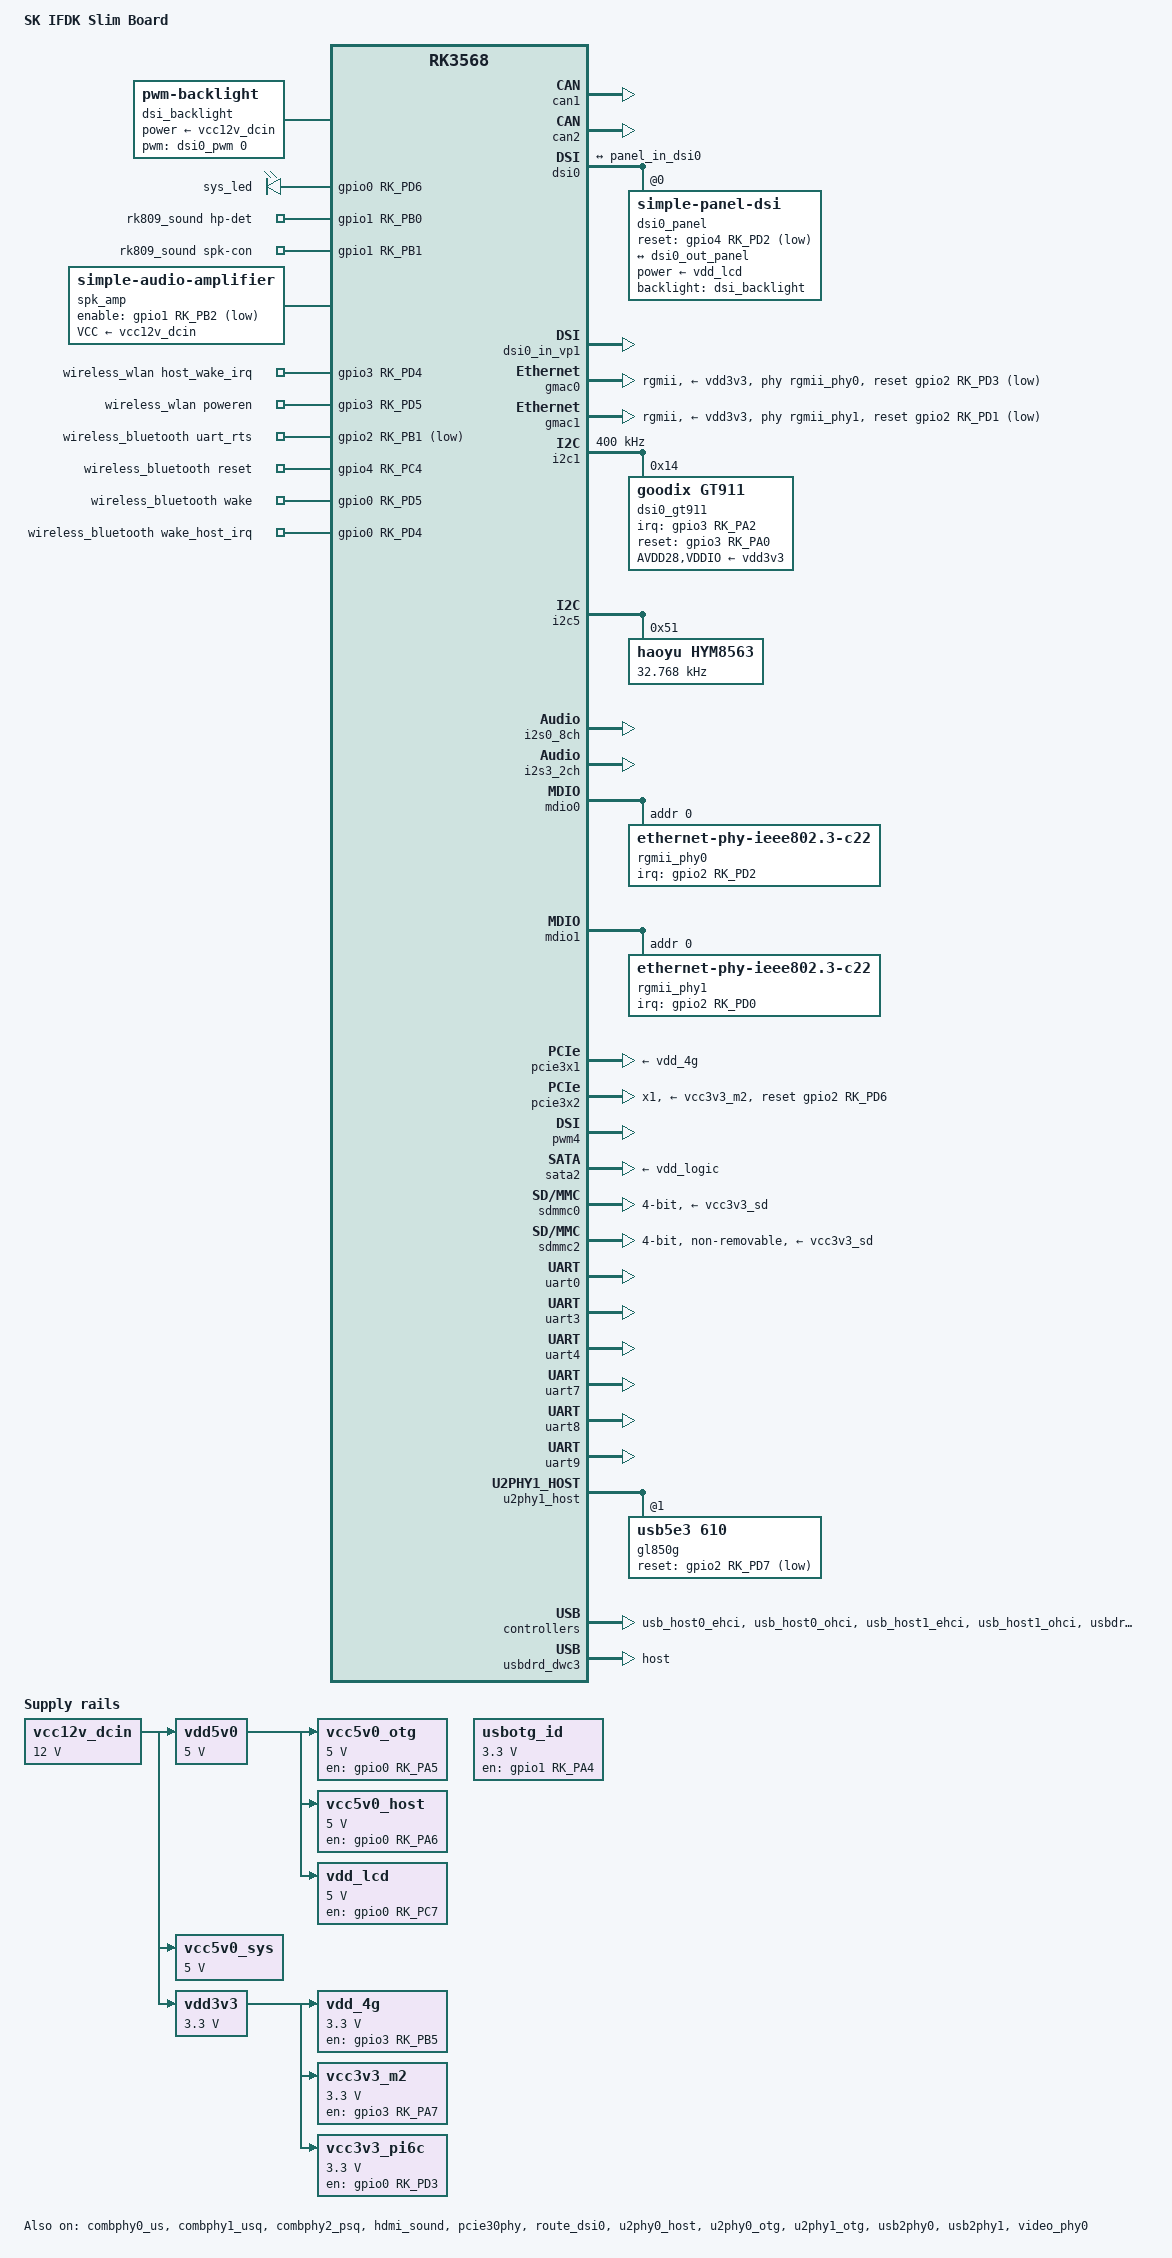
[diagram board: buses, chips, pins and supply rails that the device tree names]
// SPDX-License-Identifier: (GPL-2.0+ OR MIT)
/*
* Copyright (c) 2025 Sergey Kharenko
* Copyright (c) 2021 Rockchip Electronics Co., Ltd.
*/

/dts-v1/;

#include <dt-bindings/gpio/gpio.h>
#include <dt-bindings/pwm/pwm.h>
#include <dt-bindings/leds/common.h>
#include <dt-bindings/display/drm_mipi_dsi.h>
#include <dt-bindings/sensor-dev.h>

#include "rk3568-sk-ifdk-slim-core.dtsi"

/ {
	model = "SK IFDK Slim Board";
	compatible = "sk,ifdk-slim", "rockchip,rk3568";

	aliases {
		ethernet0 = &gmac0;
		ethernet1 = &gmac1;
		mmc0 = &sdhci;
		mmc1 = &sdmmc0;
		sata = &sata2;
		dsi = &dsi0;
		hdmi = &hdmi;
	};

    bt_sco: bt-sco {
        compatible = "linux,bt-sco";
        #sound-dai-cells = <1>;
    };

	bt_sound: bt-sound {
		status = "okay";
        compatible = "simple-audio-card";
        simple-audio-card,format = "dsp_a";
        simple-audio-card,bitclock-inversion = <1>;
        simple-audio-card,mclk-fs = <256>;
        simple-audio-card,name = "rockchip,bt";
        simple-audio-card,cpu {
            sound-dai = <&i2s3_2ch>;
        };

        simple-audio-card,codec {
            sound-dai = <&bt_sco 1>;
        };
    };

	dsi_backlight: dsi-backlight {
		compatible = "pwm-backlight";
		brightness-levels = <
			0  20  20  21  21  22  22  23
			23  24  24  25  25  26  26  27
			27  28  28  29  29  30  30  31
			31  32  32  33  33  34  34  35
			35  36  36  37  37  38  38  39
			40  41  42  43  44  45  46  47
			48  49  50  51  52  53  54  55
			56  57  58  59  60  61  62  63
			64  65  66  67  68  69  70  71
			72  73  74  75  76  77  78  79
			80  81  82  83  84  85  86  87
			88  89  90  91  92  93  94  95
			96  97  98  99 100 101 102 103
			104 105 106 107 108 109 110 111
			112 113 114 115 116 117 118 119
			120 121 122 123 124 125 126 127
			128 129 130 131 132 133 134 135
			136 137 138 139 140 141 142 143
			144 145 146 147 148 149 150 151
			152 153 154 155 156 157 158 159
			160 161 162 163 164 165 166 167
			168 169 170 171 172 173 174 175
			176 177 178 179 180 181 182 183
			184 185 186 187 188 189 190 191
			192 193 194 195 196 197 198 199
			200 201 202 203 204 205 206 207
			208 209 210 211 212 213 214 215
			216 217 218 219 220 221 222 223
			224 225 226 227 228 229 230 231
			232 233 234 235 236 237 238 239
			240 241 242 243 244 245 246 247
			248 249 250 251 252 253 254 255
		>;
		default-brightness-level = <200>;
		power-supply = <&vcc12v_dcin>;
		pwms = <&dsi0_pwm 0 20000 0>;
	};

	gpio_leds: gpio-leds {
		compatible = "gpio-leds";

		sys_led: sys-led {
			gpios = <&gpio0 RK_PD6 GPIO_ACTIVE_HIGH>;
			linux,default-trigger = "heartbeat";
			pinctrl-names = "default";
			pinctrl-0 = <&sys_led_pin>;
		};
	};

    rk809_sound: rk809-sound {
        compatible = "rockchip,multicodecs-card";
        rockchip,card-name = "rockchip-rk809";
        rockchip,format = "i2s";
        rockchip,mclk-fs = <256>;
        rockchip,cpu = <&i2s1_8ch>;
        rockchip,codec = <&rk809_codec>;

		rockchip,audio-routing =
			"Headphone", "LOUT1",
			"Headphone", "ROUT1",
			"Speaker", "SPKO",
			"MIC1", "Main Mic";

		pinctrl-names = "default";
		pinctrl-0 = <&hp_det>, <&spk_en_pin>;

		hp-det-gpio = <&gpio1 RK_PB0 GPIO_ACTIVE_HIGH>;
		spk-con-gpio = <&gpio1 RK_PB1 GPIO_ACTIVE_HIGH>;
    };

	spk_amp: spk-amp {
		compatible = "simple-audio-amplifier";
		pinctrl-names = "default";
		pinctrl-0 = <&spk_mute_pin>;
		enable-gpios = <&gpio1 RK_PB2 GPIO_ACTIVE_LOW>;
		sound-name-prefix = "Speaker Amplifier";
		VCC-supply = <&vcc12v_dcin>;
	};

	vcc12v_dcin: vcc12v-dcin-regulator {
		compatible = "regulator-fixed";
		regulator-name = "vcc12v_dcin";
		regulator-always-on;
		regulator-boot-on;
		regulator-min-microvolt = <12000000>;
		regulator-max-microvolt = <12000000>;
	};

	vdd5v0: vdd5v0 {
        compatible = "regulator-fixed";
        regulator-name = "vdd5v0";
        regulator-always-on;
        regulator-boot-on;
        regulator-min-microvolt = <5000000>;
        regulator-max-microvolt = <5000000>;
        vin-supply = <&vcc12v_dcin>;
    };

	vcc5v0_sys: vcc5v0-sys {
        compatible = "regulator-fixed";
        regulator-name = "vcc5v0_sys";
        regulator-always-on;
        regulator-boot-on;
        regulator-min-microvolt = <5000000>;
        regulator-max-microvolt = <5000000>;
        vin-supply = <&vcc12v_dcin>;
    };

	vcc5v0_otg: vcc5v0-otg {
		compatible = "regulator-fixed";
		regulator-always-on;
		regulator-boot-on;
		regulator-name = "vcc5v0_otg";
		regulator-min-microvolt = <5000000>;
		regulator-max-microvolt = <5000000>;
		pinctrl-names = "default";
		pinctrl-0 = <&usbotg_pwren>;
		enable-active-high;
		gpios = <&gpio0 RK_PA5 GPIO_ACTIVE_HIGH>;
		vin-supply = <&vdd5v0>;
	};

	vcc5v0_host: vcc5v0-host {
		compatible = "regulator-fixed";
		regulator-always-on;
		regulator-boot-on;
		regulator-name = "vcc5v0_host";
		regulator-min-microvolt = <5000000>;
		regulator-max-microvolt = <5000000>;
		pinctrl-names = "default";
		pinctrl-0 = <&usbhost_pwren>;
		enable-active-high;
		gpios = <&gpio0 RK_PA6 GPIO_ACTIVE_HIGH>;
		vin-supply = <&vdd5v0>;
	};

	vdd3v3: vdd3v3 {
        compatible = "regulator-fixed";
		regulator-always-on;
        regulator-boot-on;
		regulator-name = "vdd3v3";
        regulator-min-microvolt = <3300000>;
        regulator-max-microvolt = <3300000>;
        vin-supply = <&vcc12v_dcin>;
    };

	vdd_4g: vdd-4g {
        compatible = "regulator-fixed";
		regulator-always-on;
		regulator-boot-on;
        regulator-name = "vdd_4g";
        regulator-min-microvolt = <3300000>;
        regulator-max-microvolt = <3300000>;
        enable-active-high;
		pinctrl-names = "default";
		pinctrl-0 = <&minipcie_pwren>;
		gpios = <&gpio3 RK_PB5 GPIO_ACTIVE_HIGH>;
        startup-delay-us = <5000>;
        vin-supply = <&vdd3v3>;
	};

	vdd_lcd: vdd-lcd {
        compatible = "regulator-fixed";
		regulator-always-on;
		regulator-boot-on;
        regulator-name = "vdd_lcd";
        regulator-min-microvolt = <5000000>;
        regulator-max-microvolt = <5000000>;
        enable-active-high;
		pinctrl-names = "default";
		pinctrl-0 = <&lcd_pwren>;
		gpios = <&gpio0 RK_PC7 GPIO_ACTIVE_HIGH>;
        startup-delay-us = <5000>;
        vin-supply = <&vdd5v0>;
	};

	vcc3v3_m2: vcc3v3-m2 {
        compatible = "regulator-fixed";
		regulator-always-on;
		regulator-boot-on;
        regulator-name = "vcc3v3_m2";
        regulator-min-microvolt = <3300000>;
        regulator-max-microvolt = <3300000>;
        enable-active-high;
		pinctrl-names = "default";
		pinctrl-0 = <&m2_pwren>;
		gpios = <&gpio3 RK_PA7 GPIO_ACTIVE_HIGH>;
        startup-delay-us = <5000>;
        vin-supply = <&vdd3v3>;
    };

	vcc3v3_pi6c: vcc3v3-pi6c {
        compatible = "regulator-fixed";
		regulator-boot-on;
		regulator-always-on;
        regulator-name = "vcc3v3_pi6c";
        regulator-min-microvolt = <3300000>;
        regulator-max-microvolt = <3300000>;
        enable-active-high;
		pinctrl-names = "default";
		pinctrl-0 = <&pcie_clk_en>;
		gpios = <&gpio0 RK_PD3 GPIO_ACTIVE_HIGH>;
        vin-supply = <&vdd3v3>;
	};

	usbotg_id: usbotg-id {
        compatible = "regulator-fixed";
		regulator-boot-on;
        regulator-name = "usbotg_id";
        regulator-min-microvolt = <3300000>;
        regulator-max-microvolt = <3300000>;
        enable-active-high;
		pinctrl-names = "default";
		pinctrl-0 = <&usbotg_en>;
		gpios = <&gpio1 RK_PA4 GPIO_ACTIVE_HIGH>;
	};

	wireless_wlan: wireless-wlan {
		compatible = "wlan-platdata";
		clocks = <&rk809 1>;
		clock-names = "clk_wifi";
		rockchip,grf = <&grf>;
		wifi_chip_type = "ap6256";
		pinctrl-names = "default";
		pinctrl-0 = <&wifi_host_wake_irq>, <&wifi_poweren_gpio>;
        WIFI,host_wake_irq = <&gpio3 RK_PD4 GPIO_ACTIVE_HIGH>;
		WIFI,poweren_gpio = <&gpio3 RK_PD5 GPIO_ACTIVE_HIGH>;
		status = "okay";
	};

	wireless_bluetooth: wireless-bluetooth {
		compatible = "bluetooth-platdata";
		clocks = <&rk809 1>;
		clock-names = "ext_clock";
		uart_rts_gpios = <&gpio2 RK_PB1 GPIO_ACTIVE_LOW>;
		pinctrl-names = "default", "rts_gpio";
		pinctrl-0 = <&uart8m0_rtsn>, <&bt_gpio>;
		pinctrl-1 = <&uart8_gpios>;
		BT,reset_gpio    = <&gpio4 RK_PC4 GPIO_ACTIVE_HIGH>;
		BT,wake_gpio     = <&gpio0 RK_PD5 GPIO_ACTIVE_HIGH>;
		BT,wake_host_irq = <&gpio0 RK_PD4 GPIO_ACTIVE_HIGH>;
		status = "okay";
	};
	
};

&can1 {
	assigned-clocks = <&cru CLK_CAN1>;
	assigned-clock-rates = <150000000>;
	pinctrl-names = "default";
	pinctrl-0 = <&can1m1_pins>;
	status = "okay";
};

&can2 {
	assigned-clocks = <&cru CLK_CAN2>;
	assigned-clock-rates = <150000000>;
	pinctrl-names = "default";
	pinctrl-0 = <&can2m0_pins>;
	status = "okay";
};

&combphy0_us {
    status = "okay";
};

&combphy1_usq {
    status = "okay";
};

&combphy2_psq {
    status = "okay";
};

&dsi0 {
	status = "okay";
	
	dsi0_panel: main-panel@0 {
		status = "okay";
        compatible = "simple-panel-dsi";
        reg = <0>;
		rotation = <270>;
		power-supply = <&vdd_lcd>;
        backlight = <&dsi_backlight>;
        pinctrl-names = "default";
        pinctrl-0 = <&lcd_rst>;
        reset-gpios = <&gpio4 RK_PD2 GPIO_ACTIVE_LOW>;
        panel-name = "AML070WU01";
        reset-delay-ms = <120>;
        enable-delay-ms = <50>;
        prepare-delay-ms = <50>;
        unprepare-delay-ms = <50>;
        disable-delay-ms = <60>;
        init-delay-ms = <200>;

		dsi,bpc = <8>;
        dsi,flags = <(MIPI_DSI_MODE_VIDEO | MIPI_DSI_MODE_VIDEO_BURST |
                MIPI_DSI_MODE_VIDEO_SYNC_PULSE)>;
        dsi,format = <MIPI_DSI_FMT_RGB888>;
        dsi,lanes  = <4>;

		panel-init-sequence = [
			39 00 03 E0 AB BA
			15 00 02 FF 01
			15 00 02 83 16 
			15 00 02 90 81 
			15 00 02 FF 02 
			15 00 02 80 A0 
			15 00 02 81 80 
			15 00 02 82 50 
			15 00 02 A2 B0 
			15 00 02 A3 49 
			15 00 02 A4 6B 
			15 00 02 A5 34 
			15 00 02 A6 22 
			15 00 02 A7 34 
			15 00 02 A8 22 
			15 00 02 A9 51 
			15 00 02 AA D4 
			15 00 02 AB A6 
			15 00 02 AC 05 
			15 00 02 AD AB 
			15 00 02 AE 3B 
			15 00 02 AF 1B 
			15 00 02 B0 1E 
			15 00 02 B1 AB 
			15 00 02 B2 C1 
			15 00 02 B3 22 
			15 00 02 B4 FF 
			15 00 02 B5 CC 
			15 00 02 B6 23 
			15 00 02 B7 01 
			15 00 02 BF 00 
			15 00 02 C0 0E 
			15 00 02 C1 00 
			15 00 02 C2 FF 
			15 00 02 C3 08 
			15 00 02 C5 FF 
			15 00 02 C7 00 
			15 00 02 C8 05 
			15 00 02 C9 12 
			15 00 02 CA 29 
			15 00 02 CB 41 
			15 00 02 CE 06 
			15 00 02 D1 7F 
			15 00 02 D2 71 
			15 00 02 D3 6B 
			15 00 02 D4 6F 
			15 00 02 D5 6F 
			15 00 02 D6 6D 
			15 00 02 D7 69 
			15 00 02 D8 63 
			15 00 02 D9 5B 
			15 00 02 DA 53 
			15 00 02 DB 4F 
			15 00 02 DC 4B 
			15 00 02 DD 4B 
			15 00 02 DE 43 
			15 00 02 DF 27 
			15 00 02 E0 13 
			15 00 02 E1 00 
			15 00 02 E2 7F 
			15 00 02 E3 71 
			15 00 02 E4 6B 
			15 00 02 E5 6F 
			15 00 02 E6 6F 
			15 00 02 E7 6D 
			15 00 02 E8 69 
			15 00 02 E9 63 
			15 00 02 EA 5B 
			15 00 02 EB 53 
			15 00 02 EC 4F 
			15 00 02 ED 4B 
			15 00 02 EE 4B 
			15 00 02 EF 43 
			15 00 02 F0 27 
			15 00 02 F1 13 
			15 00 02 F2 00 
			15 00 02 FF 03 
			15 00 02 9D 00 
			15 00 02 FF 04 
			15 00 02 80 FD 
			15 00 02 81 CB 
			15 00 02 82 A9 
			15 00 02 83 80 
			15 00 02 84 86 
			15 00 02 85 66 
			15 00 02 86 66 
			15 00 02 87 60 
			15 00 02 88 A0 
			15 00 02 89 08 
			15 00 02 8A A0 
			15 00 02 8B 08 
			15 00 02 8C 02 
			15 00 02 8D 80 
			15 00 02 8E 00 
			15 00 02 8F 00 
			15 00 02 90 00 
			15 00 02 91 05 
			15 00 02 92 00 
			15 00 02 93 0F 
			15 00 02 94 00 
			15 00 02 95 08 
			15 00 02 96 00 
			15 00 02 97 00 
			15 00 02 98 00 
			15 00 02 99 00 
			15 00 02 9A 00 
			15 00 02 9B 01 
			15 00 02 9C 00 
			15 00 02 9D 74 
			15 00 02 9E 12 
			15 00 02 9F B2 
			15 00 02 A0 07 
			15 00 02 A1 A0 
			15 00 02 A2 08 
			15 00 02 A3 60 
			15 00 02 A4 08 
			15 00 02 A5 02 
			15 00 02 A6 54 
			15 00 02 A7 80 
			15 00 02 A8 00 
			15 00 02 A9 00 
			15 00 02 AA 00 
			15 00 02 AB 00 
			15 00 02 AC 00 
			15 00 02 AD 00 
			15 00 02 AE 00 
			15 00 02 AF 00 
			15 00 02 B0 00 
			15 00 02 B1 00 
			15 00 02 B2 00 
			15 00 02 B3 00 
			15 00 02 B4 09 
			15 00 02 B5 01 
			15 00 02 B6 13 
			15 00 02 B7 08 
			15 00 02 B8 12 
			15 00 02 B9 00 
			15 00 02 BA 03 
			15 00 02 BB 00 
			15 00 02 BC 00 
			15 00 02 BD 01 
			15 00 02 BE 70 
			15 00 02 BF BA 
			15 00 02 C0 98 
			15 00 02 C1 76 
			15 00 02 C2 54 
			15 00 02 C3 32 
			15 00 02 C4 10 
			15 00 02 C5 CD 
			15 00 02 C6 EF 
			15 00 02 C7 00 
			15 00 02 C8 00 
			15 00 02 C9 20 
			15 00 02 CB 21 
			15 00 02 CD 27 
			15 00 02 CF 10 
			15 00 02 D0 12 
			15 00 02 D1 14 
			15 00 02 D2 16 
			15 00 02 D3 18 
			15 00 02 D4 1A 
			15 00 02 D5 05 
			15 00 02 D6 07 
			15 00 02 D7 09 
			15 00 02 D9 00 
			15 00 02 DA 00 
			15 00 02 DB 00 
			15 00 02 DC 00 
			15 00 02 DD 20 
			15 00 02 DF 21 
			15 00 02 E3 27 
			15 00 02 E5 11 
			15 00 02 E6 13 
			15 00 02 E7 15 
			15 00 02 E8 17 
			15 00 02 E9 19 
			15 00 02 EA 1B 
			15 00 02 EB 06 
			15 00 02 EC 08 
			15 00 02 ED 0A 
			15 00 02 EF 00 
			15 00 02 F0 00 
			15 00 02 F1 A2 
			15 00 02 F2 18 
			15 00 02 F3 11 
			15 00 02 F4 00 
			15 00 02 F5 11 
			15 00 02 F6 00 
			15 00 02 F7 11 
			15 00 02 F8 00 
			15 00 02 F9 00 
			15 00 02 FA 00 
			15 00 02 FB 00 
			15 00 02 FC 20 
			15 00 02 FD 00 
			15 00 02 FE 00 
			15 00 02 FF 05 
			15 00 02 8F E8 
			15 00 02 90 84 
			15 00 02 91 77 
			15 00 02 FF 06 
			15 00 02 80 10 
			15 00 02 FF 07 
			15 00 02 80 14 
			15 00 02 81 12 
			15 00 02 82 02 
			15 00 02 83 20 
			15 00 02 84 24 
			15 00 02 85 0C 
			15 00 02 86 56 
			15 00 02 87 77 
			15 00 02 88 80 
			15 00 02 89 33 
			15 00 02 8A 00 
			15 00 02 8B 04 
			15 00 02 8C 09 
			15 00 02 8D 40 
			15 00 02 8E 40 
			15 00 02 91 11 
			15 00 02 92 2C 
			15 00 02 93 2D 
			15 00 02 94 03 
			15 00 02 A0 0A 
			15 00 02 A2 13 
			15 00 02 FF 00 

			05 96 01 11
            05 14 01 29
        ];

		panel-exit-sequence = [
            05 78 01 28
            05 78 01 10
        ];

		display-timings {
            native-mode = <&dsi0_timing0>;
            dsi0_timing0: timing0 {
                clock-frequency = <148000000>;
                hactive = <1200>;
                vactive = <1920>;
                hfront-porch = <36>;
                hsync-len = <10>;
                hback-porch = <36>;
                vfront-porch = <8>;
                vsync-len = <2>;
                vback-porch = <7>;
                hsync-active = <0>;
                vsync-active = <0>;
                de-active = <0>;
                pixelclk-active = <0>;
            };
        };

        ports {
            #address-cells = <1>;
            #size-cells = <0>;
            port@0 {
                reg = <0>;
                panel_in_dsi0: endpoint {
                    remote-endpoint = <&dsi0_out_panel>;
                };
            };
        };
    };

    ports {
		#address-cells = <1>;
		#size-cells = <0>;

		dsi0_out: port@1 {
			reg = <1>;
			dsi0_out_panel: endpoint {
				remote-endpoint = <&panel_in_dsi0>;
			};
		};
	};
};

&dsi0_in_vp0 {
	status = "disabled";
};

&dsi0_in_vp1 {
	status = "okay";
};

&dsi1 {
	status = "disabled";
};

&edp {
	status = "disabled";
};

&gmac0 {
	phy-supply = <&vdd3v3>;
    phy-mode = "rgmii";
    clock_in_out = "input";

    snps,reset-gpio = <&gpio2 RK_PD3 GPIO_ACTIVE_LOW>;
    snps,reset-active-low;
    snps,reset-delays-us = <0 100000 100000>;

    assigned-clocks = <&cru SCLK_GMAC0_RX_TX>, <&cru SCLK_GMAC0>, <&cru CLK_MAC0_OUT>;
    assigned-clock-parents = <&cru SCLK_GMAC0_RGMII_SPEED>, <&gmac0_clkin>, <&cru CLK_MAC0_2TOP>;
    assigned-clock-rates = <0>, <125000000>, <25000000>;

    pinctrl-names = "default";
    pinctrl-0 = <&gmac0_miim
			&gmac0_tx_bus2
			&gmac0_rx_bus2
			&gmac0_rgmii_clk
			&gmac0_rgmii_bus
            &eth0_pins
            &gmac0_clkinout>;

    tx_delay = <0x2d>;
    rx_delay = <0x2c>;
    phy-handle = <&rgmii_phy0>;
    status = "okay";
};

&gmac1 {
	phy-supply = <&vdd3v3>;
    phy-mode = "rgmii";
    clock_in_out = "input";

    snps,reset-gpio = <&gpio2 RK_PD1 GPIO_ACTIVE_LOW>;
    snps,reset-active-low;
    snps,reset-delays-us = <0 100000 100000>;

    assigned-clocks = <&cru SCLK_GMAC1_RX_TX>, <&cru SCLK_GMAC1>, <&cru CLK_MAC1_OUT>;
    assigned-clock-parents = <&cru SCLK_GMAC1_RGMII_SPEED>, <&gmac1_clkin>, <&cru CLK_MAC1_2TOP>;
    assigned-clock-rates = <0>, <125000000>, <25000000>;

    pinctrl-names = "default";
    pinctrl-0 = <&gmac1m1_miim
			&gmac1m1_tx_bus2
			&gmac1m1_rx_bus2
			&gmac1m1_rgmii_clk
			&gmac1m1_rgmii_bus
            &eth1m0_pins
            &gmac1m1_clkinout>;

    tx_delay = <0x3a>;
    rx_delay = <0x29>;
    phy-handle = <&rgmii_phy1>;
    status = "okay";
};

// &hdmi {
// 	avdd-0v9-supply = <&vdda0v9_image>;
// 	avdd-1v8-supply = <&vcca1v8_image>;
// 	cec-enable = "true";
//     // rockchip,phy-table =
//     //     <92812500  0x8009 0x0000 0x0270>,
//     //     <165000000 0x800b 0x0000 0x026d>,
//     //     <185625000 0x800b 0x0000 0x01ed>,
//     //     <297000000 0x800b 0x0000 0x01ad>,
//     //     <594000000 0x8029 0x0000 0x0088>,
//     //     <000000000 0x0000 0x0000 0x0000>;
//     status = "okay";
// };

// &hdmi_in_vp0 {
//     status = "okay";
// };

// &hdmi_in_vp1 {
//     status = "disabled";
// };

&hdmi_sound {
	status = "okay";
};

dsi_i2c: &i2c1 {
	/* connect to dsi touch */
	status = "okay";
	clock-frequency = <400000>;
	#address-cells = <1>;
	#size-cells = <0>;

	dsi0_gt911: dsi0-gt911@14 {
        compatible = "goodix,gt911";
        reg = <0x14>;
        AVDD28-supply = <&vdd3v3>;
        VDDIO-supply = <&vdd3v3>;
        pinctrl-names = "default";
        pinctrl-0 = <&touch_gpio>;
        interrupts = <RK_PA2 IRQ_TYPE_EDGE_FALLING>;
        interrupt-parent = <&gpio3>;
        irq-gpios = <&gpio3 RK_PA2 GPIO_ACTIVE_HIGH>;
        reset-gpios = <&gpio3 RK_PA0 GPIO_ACTIVE_HIGH>;
        touchscreen-size-x = <1200>;
        touchscreen-size-y = <1920>;
        // touchscreen-inverted-x;
        // touchscreen-inverted-y;
        // touchscreen-swapped-x-y;
    };
};

&i2c5 {
    status = "okay";

	hym8563: hym8563@51 {
		compatible = "haoyu,hym8563";
		reg = <0x51>;
		#clock-cells = <0>;
		clock-frequency = <32768>;
		clock-output-names = "hym8563";
	};
};

&i2s0_8ch {
    status = "okay";
};

&i2s3_2ch {
	status = "okay";
};

&mdio0 {
    rgmii_phy0: phy@0 {
        compatible = "ethernet-phy-ieee802.3-c22";
        reg = <0x0>;
        clocks = <&cru CLK_MAC0_OUT>;
		interrupt-parent = <&gpio2>;
		interrupts = <RK_PD2 IRQ_TYPE_LEVEL_LOW>;
		pinctrl-names = "default";
    	pinctrl-0 = <&eth_phy0_int>;
    };
};

&mdio1 {
    rgmii_phy1: phy@0 {
        compatible = "ethernet-phy-ieee802.3-c22";
        reg = <0x0>;
        clocks = <&cru CLK_MAC1_OUT>;
		interrupt-parent = <&gpio2>;
		interrupts = <RK_PD0 IRQ_TYPE_LEVEL_LOW>;
		pinctrl-names = "default";
    	pinctrl-0 = <&eth_phy1_int>;
    };
};

&pcie30phy {
    status = "okay";
};

&pcie3x1 {
    rockchip,bifurcation;
	vpcie3v3-supply = <&vdd_4g>;
	status = "okay";
};

&pcie3x2 {
    rockchip,bifurcation;
	num-lanes = <1>;
	reset-gpios = <&gpio2 RK_PD6 GPIO_ACTIVE_HIGH>;
    vpcie3v3-supply = <&vcc3v3_m2>;
	pinctrl-0 = <&pcie30x2m1_pins>; 
	status = "okay";
};

&pinctrl {
	audio {
		spk_en_pin: spk-en-pin {
			rockchip,pins = <1 RK_PB1 RK_FUNC_GPIO &pcfg_pull_none>;
		};

		spk_mute_pin: spk-mute-pin {
			rockchip,pins = <1 RK_PB2 RK_FUNC_GPIO &pcfg_pull_none>;
		};
	};

	eth-phy {
		eth_phy0_int: eth-phy0-int {
			rockchip,pins = <2 RK_PD2 RK_FUNC_GPIO &pcfg_pull_up>;
		};

		eth_phy1_int: eth-phy1-int {
			rockchip,pins = <2 RK_PD0 RK_FUNC_GPIO &pcfg_pull_up>;
		};
	};

	gpio-fans {
		/omit-if-no-ref/
		sys_fan_pin: sys-fan-pin {
			rockchip,pins = <3 RK_PB6 RK_FUNC_GPIO &pcfg_pull_down>;
		};
	};

	gpio-leds {
		sys_led_pin: sys-led-pin {
			rockchip,pins = <0 RK_PD6 RK_FUNC_GPIO &pcfg_pull_none>;
		};
	};

	headphone {
        hp_det: hp-det {
            rockchip,pins = <1 RK_PB0 RK_FUNC_GPIO &pcfg_pull_down>;
        };
    };

	hub {
		hub_rst_pin: hub-rst-pin {
			rockchip,pins = <2 RK_PD7 RK_FUNC_GPIO &pcfg_pull_none>;
		};
	};

	lcd {
		/omit-if-no-ref/
		lcd_rst: lcd-rst {
			rockchip,pins = <4 RK_PD2 RK_FUNC_GPIO &pcfg_pull_up>;
		};
		
		/omit-if-no-ref/
		lcd_pwren: lcd-pwren {
			rockchip,pins = <0 RK_PC7 RK_FUNC_GPIO &pcfg_pull_none>;
		};
	};

	pcie {
		minipcie_pwren: minipcie-pwren {
			rockchip,pins = <3 RK_PB5 RK_FUNC_GPIO &pcfg_pull_none>;
		};

		m2_pwren: m2-pwren {
			rockchip,pins = <3 RK_PA7 RK_FUNC_GPIO &pcfg_pull_none>;
		};

		pcie_clk_en: pcie-clk-en {
			rockchip,pins = <0 RK_PD3 RK_FUNC_GPIO &pcfg_pull_up>;
		};
	};

	touch {
		/omit-if-no-ref/
		touch_gpio: touch-gpio {
			rockchip,pins = 
				<3 RK_PA0 RK_FUNC_GPIO &pcfg_pull_none>,
				<3 RK_PA2 RK_FUNC_GPIO &pcfg_pull_none>;
		};
	};

	usb {
		usbotg_pwren: usbotg-pwren {
			rockchip,pins = <0 RK_PA5 RK_FUNC_GPIO &pcfg_pull_none>;
		};

		usbhost_pwren: usbhost-pwren {
			rockchip,pins = <0 RK_PA6 RK_FUNC_GPIO &pcfg_pull_none>;
		};

		usbotg_en: usbotg-en {
			rockchip,pins = <1 RK_PA4 RK_FUNC_GPIO &pcfg_pull_up>;
		};
	};

	wireless-bluetooth {
		uart8_gpios: uart8-gpios {
			rockchip,pins = <2 RK_PB1 RK_FUNC_GPIO &pcfg_pull_none>;
		};
		
		bt_gpio: bt-gpio {
			rockchip,pins =
				<4 RK_PC4 RK_FUNC_GPIO &pcfg_pull_none>,
				<0 RK_PD4 RK_FUNC_GPIO &pcfg_pull_none>,
				<0 RK_PD5 RK_FUNC_GPIO &pcfg_pull_none>;
		};
	};
	
	wireless-wlan {
		wifi_host_wake_irq: wifi-host-wake-irq {
			rockchip,pins = <3 RK_PD4 RK_FUNC_GPIO &pcfg_pull_down>;
		};
		
		wifi_poweren_gpio: wifi-poweren-gpio {
			rockchip,pins = <3 RK_PD5 RK_FUNC_GPIO &pcfg_pull_up>;
		};
	};
};

dsi0_pwm: &pwm4 {
	status = "okay";
};

dsi1_pwm: &pwm5 {
	status = "disabled";
};

&route_dsi0 {
	status = "okay";
	connect = <&vp1_out_dsi0>;
};

// &route_hdmi {
// 	status = "okay";
// 	connect = <&vp0_out_hdmi>;
// };

&sata2 {
	phy-supply = <&vdd_logic>;
	ahci-supply = <&vdd5v0>;
	target-supply = <&vcc12v_dcin>;
    status = "okay";
};

&sdmmc0 {
    max-frequency = <150000000>;
    supports-sd;
    bus-width = <4>;
    cap-mmc-highspeed;
    cap-sd-highspeed;
    disable-wp;
    sd-uhs-sdr104;
    vmmc-supply = <&vcc3v3_sd>;
    vqmmc-supply = <&vccio_sd>;
    pinctrl-names = "default";
    pinctrl-0 = <&sdmmc0_bus4 &sdmmc0_clk &sdmmc0_cmd &sdmmc0_det>;
    status = "okay";
};

&sdmmc2 {
    max-frequency = <150000000>;
    supports-sdio;
    bus-width = <4>;
    disable-wp;
    cap-sd-highspeed;
    cap-sdio-irq;
    keep-power-in-suspend;
    non-removable;
	sd-uhs-sdr104;
	vmmc-supply = <&vcc3v3_sd>;
    vqmmc-supply = <&vccio_sd>;
    pinctrl-names = "default";
    pinctrl-0 = <&sdmmc2m0_bus4 &sdmmc2m0_cmd &sdmmc2m0_clk>;
    status = "okay";
};

&uart0 {
    status = "okay";
};

&uart3 {
    status = "okay";
    pinctrl-names = "default";
    pinctrl-0 = <&uart3m1_xfer>;
};

&uart4 {
    status = "okay";
    pinctrl-names = "default";
    pinctrl-0 = <&uart4m1_xfer>;
};

&uart7 {
    status = "okay";
    pinctrl-names = "default";
    pinctrl-0 = <&uart7m1_xfer>;
};

&uart8 {
    status = "okay";
	dma-names = "tx", "rx";
    pinctrl-names = "default";
    pinctrl-0 = <&uart8m0_xfer &uart8m0_ctsn>;
};

&uart9 {
    status = "okay";
    pinctrl-names = "default";
    pinctrl-0 = <&uart9m1_xfer>;
};

&u2phy0_host {
	dr_mode = "host";
	phy-supply = <&vcc5v0_host>;
    status = "okay";
};

&u2phy0_otg {
	dr_mode = "host";
	vbus-supply = <&vcc5v0_otg>;
    status = "okay";
};

&u2phy1_host {
	dr_mode = "host";
	phy-supply = <&vcc5v0_host>;
	status = "okay";

	gl850g: hub@1 {
        compatible = "usb5e3,610";
        reg = <1>;
        reset-gpios = <&gpio2 RK_PD7 GPIO_ACTIVE_LOW>;
		pinctrl-names = "default";
        pinctrl-0 = <&hub_rst_pin>;

        usb0: port@1 {
            reg = <1>; 
            #address-cells = <1>;
            #size-cells = <0>;
		};

		usb1: port@2 {
            reg = <2>;
            #address-cells = <1>;
            #size-cells = <0>;
		};

		usb2: port@3 {
            reg = <3>;
            #address-cells = <1>;
            #size-cells = <0>;
		};

		usb3: port@4 {
            reg = <4>;
            #address-cells = <1>;
            #size-cells = <0>;
		};
	};
};

&u2phy1_otg {
	dr_mode = "host";
	vbus-supply = <&vcc5v0_otg>;
    status = "okay";
};

&usb2phy0 {
    status = "okay";
};

&usb2phy1 {
    status = "okay";
};

&usb_host0_ehci {
    status = "okay";
};

&usb_host0_ohci {
    status = "okay";
};

&usb_host1_ehci {
    status = "okay";
};

&usb_host1_ohci {
    status = "okay";
};

&usbdrd_dwc3 {
    dr_mode = "host";
    extcon = <&usb2phy0>;
    status = "okay";
};

&usbdrd30 {
    status = "okay";
};

&usbhost_dwc3 {
    status = "okay";
};

&usbhost30 {
    status = "okay";
};

&vcc3v3_sys {
	vin-supply = <&vcc12v_dcin>;
};

&video_phy0 {
	status = "okay";
};

&vp0 {
	cursor-win-id = <ROCKCHIP_VOP2_ESMART0>;
	rockchip,plane-mask = <(1 << ROCKCHIP_VOP2_CLUSTER0)>;
	rockchip,primary-plane = <ROCKCHIP_VOP2_CLUSTER0>;
};

&vp1 {
	cursor-win-id = <ROCKCHIP_VOP2_ESMART1>;
	rockchip,plane-mask = <(1 << ROCKCHIP_VOP2_CLUSTER1)>;
	rockchip,primary-plane = <ROCKCHIP_VOP2_CLUSTER1>;
};

&vp2 {
	status = "disabled";
};
